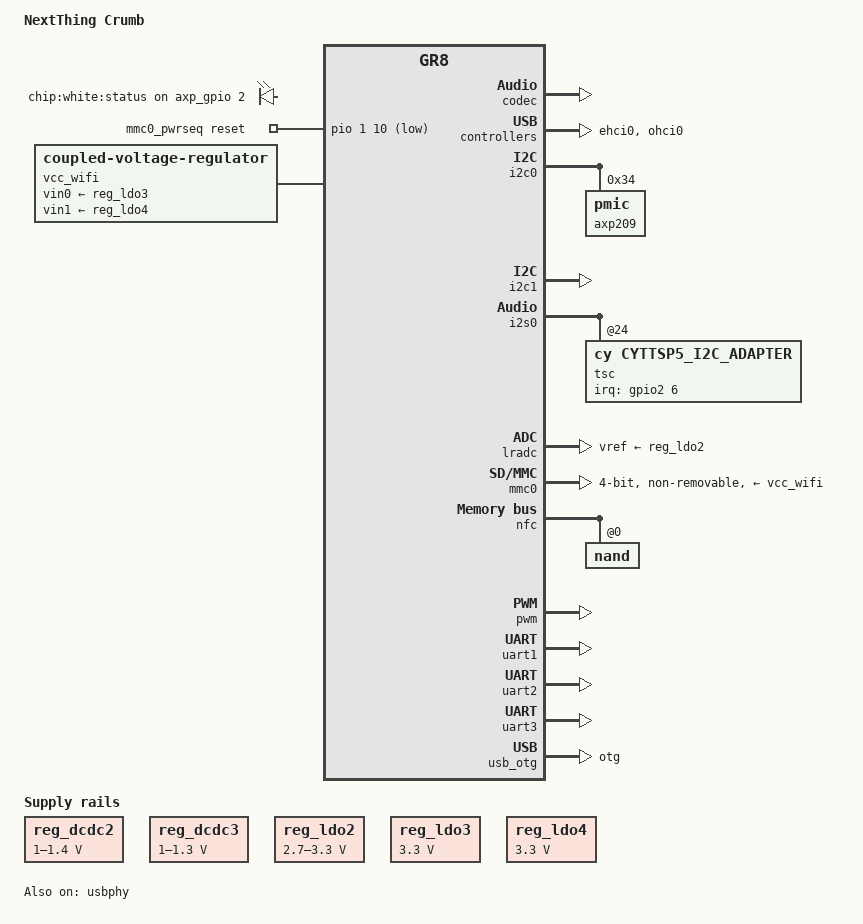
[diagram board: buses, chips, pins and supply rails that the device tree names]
/*
 * Copyright 2016 Free Electrons
 * Copyright 2016 NextThing Co
 *
 * Mylène Josserand <mylene.josserand@free-electrons.com>
 *
 * This file is dual-licensed: you can use it either under the terms
 * of the GPL or the X11 license, at your option. Note that this dual
 * licensing only applies to this file, and not this project as a
 * whole.
 *
 *  a) This file is free software; you can redistribute it and/or
 *     modify it under the terms of the GNU General Public License as
 *     published by the Free Software Foundation; either version 2 of the
 *     License, or (at your option) any later version.
 *
 *     This file is distributed in the hope that it will be useful,
 *     but WITHOUT ANY WARRANTY; without even the implied warranty of
 *     MERCHANTABILITY or FITNESS FOR A PARTICULAR PURPOSE.  See the
 *     GNU General Public License for more details.
 *
 * Or, alternatively,
 *
 *  b) Permission is hereby granted, free of charge, to any person
 *     obtaining a copy of this software and associated documentation
 *     files (the "Software"), to deal in the Software without
 *     restriction, including without limitation the rights to use,
 *     copy, modify, merge, publish, distribute, sublicense, and/or
 *     sell copies of the Software, and to permit persons to whom the
 *     Software is furnished to do so, subject to the following
 *     conditions:
 *
 *     The above copyright notice and this permission notice shall be
 *     included in all copies or substantial portions of the Software.
 *
 *     THE SOFTWARE IS PROVIDED "AS IS", WITHOUT WARRANTY OF ANY KIND,
 *     EXPRESS OR IMPLIED, INCLUDING BUT NOT LIMITED TO THE WARRANTIES
 *     OF MERCHANTABILITY, FITNESS FOR A PARTICULAR PURPOSE AND
 *     NONINFRINGEMENT. IN NO EVENT SHALL THE AUTHORS OR COPYRIGHT
 *     HOLDERS BE LIABLE FOR ANY CLAIM, DAMAGES OR OTHER LIABILITY,
 *     WHETHER IN AN ACTION OF CONTRACT, TORT OR OTHERWISE, ARISING
 *     FROM, OUT OF OR IN CONNECTION WITH THE SOFTWARE OR THE USE OR
 *     OTHER DEALINGS IN THE SOFTWARE.
 */

/dts-v1/;
#include "ntc-gr8.dtsi"
#include "sunxi-common-regulators.dtsi"

#include <dt-bindings/gpio/gpio.h>
#include <dt-bindings/input/input.h>
#include <dt-bindings/interrupt-controller/irq.h>

/ {
	model = "NextThing Crumb";
	compatible = "nextthing,crumb", "nextthing,gr8";

	aliases {
		i2c0 = &i2c0;
		i2c1 = &i2c1;
		serial0 = &uart1;
		serial1 = &uart2;
		serial2 = &uart3;
	};

	chosen {
		stdout-path = "serial0:115200n8";
	};

    leds {
        compatible = "gpio-leds";

        status {
            label = "chip:white:status";
            gpios = <&axp_gpio 2 GPIO_ACTIVE_HIGH>;
            default-state = "on";
        };
    };

	mmc0_pwrseq: mmc0_pwrseq {
		compatible = "mmc-pwrseq-simple";
		pinctrl-names = "default";
		pinctrl-0 = <&wifi_reg_on_pin_crumb>;
		reset-gpios = <&pio 1 10 GPIO_ACTIVE_LOW>; /* PB10 */
	};

	/*
	 * Both LDO3 and LDO4 are used in parallel to power up the
	 * WiFi/BT Chip.
	 */
	vcc_wifi: wifi_reg {
		compatible = "coupled-voltage-regulator";
		regulator-name = "vcc-wifi";
		vin0-supply = <&reg_ldo3>;
		vin1-supply = <&reg_ldo4>;
	};
};

&codec {
	status = "okay";
};

&ehci0 {
	status = "okay";
};

&i2c0 {
	pinctrl-names = "default";
	pinctrl-0 = <&i2c0_pins_a>;
	status = "okay";

	axp209: pmic@34 {
		reg = <0x34>;

		/*
		* The interrupt is routed through the "External Fast
		* Interrupt Request" pin (ball G13 of the module)
		* directly to the main interrupt controller, without
		* any other controller interfering.
		*/
		interrupts = <0>;
	};
};

#include "axp209.dtsi"

&i2c1 {
	pinctrl-names = "default";
	pinctrl-0 = <&i2c1_pins_a>;
	status = "okay";
};

&i2s0 {
	pinctrl-names = "default";
	pinctrl-0 = <&i2s0_data_pins_a>, <&i2s0_data_pins_a>;
	status = "okay";
        clock-frequency = <400000>;

        tsc@24 {
                compatible = "cy,cyttsp5_i2c_adapter";
                reg = <0x24>;

                /* GPIO 38, high-to-low edge triggered */
                interrupts = <6 2>;
                interrupt-parent = <&gpio2>;
                cy,adapter_id = "cyttsp5_i2c_adapter";

                cy,core {
                        cy,name = "cyttsp5_core";

                        cy,irq_gpio = <205>;
                        cy,rst_gpio = <138>;
                        cy,boot_mode_gpio = <139>;
                        cy,hid_desc_register = <1>;
                        /*CY_CORE_FLAG_RESTORE_PARAMETERS */
                        cy,flags = <4>;
                        /* CY_CORE_EWG_NONE */
                        cy,easy_wakeup_gesture = <0>;
                        cy,btn_keys = <172 /* KEY_HOMEPAGE */
                                           /* previously was KEY_HOME, new Android ver use KEY_HOMEPAGE */
                                       139 /* KEY_MENU */
                                       158 /* KEY_BACK */
                                       217 /* KEY_SEARCH */
                                       114 /* KEY_VOLUMEDOWN */
                                       115 /* KEY_VOLUMEUP */
                                       212 /* KEY_CAMERA */
                                       116>; /* KEY_POWER */
                        cy,btn_keys-tag = <0>;

                        cy,mt {
                                cy,name = "cyttsp5_mt";

                                cy,inp_dev_name = "cyttsp5_mt";
                                /* CY_MT_FLAG_FLIP | CY_MT_FLAG_INV_X | CY_MT_FLAG_INV_Y */
                                cy,flags = <0x38>;
                                cy,abs =
                                        /* ABS_MT_POSITION_X, CY_ABS_MIN_X, CY_ABS_MAX_X, 0, 0 */
                                        <0x35 0 880 0 0
                                        /* ABS_MT_POSITION_Y, CY_ABS_MIN_Y, CY_ABS_MAX_Y, 0, 0 */
                                        0x36 0 1280 0 0
                                        /* ABS_MT_PRESSURE, CY_ABS_MIN_P, CY_ABS_MAX_P, 0, 0 */
                                        0x3a 0 255 0 0
                                        /* CY_IGNORE_VALUE, CY_ABS_MIN_W, CY_ABS_MAX_W, 0, 0 */
                                        0xffff 0 255 0 0
                                        /* ABS_MT_TRACKING_ID, CY_ABS_MIN_T, CY_ABS_MAX_T, 0, 0 */
                                        0x39 0 15 0 0
                                        /* ABS_MT_TOUCH_MAJOR, 0, 255, 0, 0 */
                                        0x30 0 255 0 0
                                        /* ABS_MT_TOUCH_MINOR, 0, 255, 0, 0 */
                                        0x31 0 255 0 0
                                        /* ABS_MT_ORIENTATION, -127, 127, 0, 0 */
                                        0x34 0xffffff81 127 0 0
                                        /* ABS_MT_TOOL_TYPE, 0, MT_TOOL_MAX, 0, 0 */
                                        0x37 0 1 0 0
                                        /* ABS_MT_DISTANCE, 0, 255, 0, 0 */
                                        0x3b 0 255 0 0>;

                                cy,vkeys_x = <720>;
                                cy,vkeys_y = <1280>;

                                cy,virtual_keys = /* KeyCode CenterX CenterY Width Height */
                                        /* KEY_BACK */
                                        <158 1360 90 160 180
                                        /* KEY_MENU */
                                        139 1360 270 160 180
                                        /* KEY_HOMEPAGE */
                                        172 1360 450 160 180
                                        /* KEY SEARCH */
                                        217 1360 630 160 180>;
                        };

                        cy,btn {
                                cy,name = "cyttsp5_btn";

                                cy,inp_dev_name = "cyttsp5_btn";
                        };
                };
        };
};

&lradc {
	vref-supply = <&reg_ldo2>;
	status = "okay";
};

&mmc0 {
	pinctrl-names = "default";
	pinctrl-0 = <&mmc0_pins_a>;
	vmmc-supply = <&vcc_wifi>;
	mmc-pwrseq = <&mmc0_pwrseq>;
	bus-width = <4>;
	non-removable;
	status = "okay";
};

&nfc {
	pinctrl-names = "default";
	pinctrl-0 = <&nand_pins_a &nand_cs0_pins_a &nand_rb0_pins_a>;
	status = "okay";

	nand@0 {
		#address-cells = <2>;
		#size-cells = <2>;
		reg = <0>;
		allwinner,rb = <0>;
		nand-ecc-mode = "hw";
		nand-on-flash-bbt;

		spl@0 {
			label = "SPL";
			reg = /bits/ 64 <0x0 0x400000>;
		};

		spl-backup@400000 {
			label = "SPL.backup";
			reg = /bits/ 64 <0x400000 0x400000>;
		};

		u-boot@800000 {
			label = "U-Boot";
			reg = /bits/ 64 <0x800000 0x400000>;
		};

		env@c00000 {
			label = "env";
			reg = /bits/ 64 <0xc00000 0x400000>;
		};

		rootfs@1000000 {
			label = "rootfs";
			reg = /bits/ 64 <0x1000000 0x1ff000000>;
		};
	};
};

&ohci0 {
	status = "okay";
};

&otg_sram {
	status = "okay";
};

&pio {
	usb0_id_pin_crumb: usb0-id-pin@0 {
		allwinner,pins = "PG2";
		allwinner,function = "gpio_in";
		allwinner,drive = <SUN4I_PINCTRL_10_MA>;
		allwinner,pull = <SUN4I_PINCTRL_NO_PULL>;
	};

	wifi_reg_on_pin_crumb: wifi-reg-on-pin@0 {
		allwinner,pins = "PB10";
		allwinner,function = "gpio_out";
		allwinner,drive = <SUN4I_PINCTRL_10_MA>;
		allwinner,pull = <SUN4I_PINCTRL_NO_PULL>;
	};
};

&pwm {
	pinctrl-names = "default";
	pinctrl-0 = <&pwm0_pins_a>, <&pwm1_pins_a>;
	status = "okay";
};

&reg_dcdc2 {
	regulator-min-microvolt = <1000000>;
	regulator-max-microvolt = <1400000>;
	regulator-name = "vdd-cpu";
	regulator-always-on;
};

&reg_dcdc3 {
	regulator-min-microvolt = <1000000>;
	regulator-max-microvolt = <1300000>;
	regulator-name = "vdd-sys";
	regulator-always-on;
};

&reg_ldo1 {
	regulator-name = "vdd-rtc";
};

&reg_ldo2 {
	regulator-min-microvolt = <2700000>;
	regulator-max-microvolt = <3300000>;
	regulator-name = "avcc";
	regulator-always-on;
};

&reg_ldo3 {
	regulator-min-microvolt = <3300000>;
	regulator-max-microvolt = <3300000>;
	regulator-name = "vcc-wifi-1";
};

&reg_ldo4 {
	regulator-min-microvolt = <3300000>;
	regulator-max-microvolt = <3300000>;
	regulator-name = "vcc-wifi-2";
};

&uart1 {
	pinctrl-names = "default";
	pinctrl-0 = <&uart1_pins_a>, <&uart1_cts_rts_pins_a>;
	status = "okay";
};

&uart2 {
	pinctrl-names = "default";
	pinctrl-0 = <&uart2_pins_a>, <&uart2_cts_rts_pins_a>;
	status = "okay";
};

&uart3 {
	pinctrl-names = "default";
	pinctrl-0 = <&uart3_pins_a>, <&uart3_cts_rts_pins_a>;
	status = "okay";
};

&usb_otg {
	/*
	 * The GR8-EVB has a somewhat interesting design. There's a
	 * pin supposed to control VBUS, an ID pin, a VBUS detect pin,
	 * so everything should work just fine.
	 *
	 * Except that the pin supposed to control VBUS is not
	 * connected to any controllable output, neither to the SoC
	 * through a GPIO or to the PMIC, and it is pulled down,
	 * meaning that we will never be able to enable VBUS on this
	 * board.
	 */
	dr_mode = "otg";
	status = "okay";
};

&usb_power_supply {
	status = "okay";
};

&usbphy {
	pinctrl-names = "default";
	pinctrl-0 = <&usb0_id_pin_crumb>;
	usb0_id_det-gpio = <&pio 6 2 GPIO_ACTIVE_HIGH>; /* PG2 */
	usb0_vbus_power-supply = <&usb_power_supply>;
	usb1_vbus-supply = <&reg_vcc5v0>;
	status = "okay";
};
